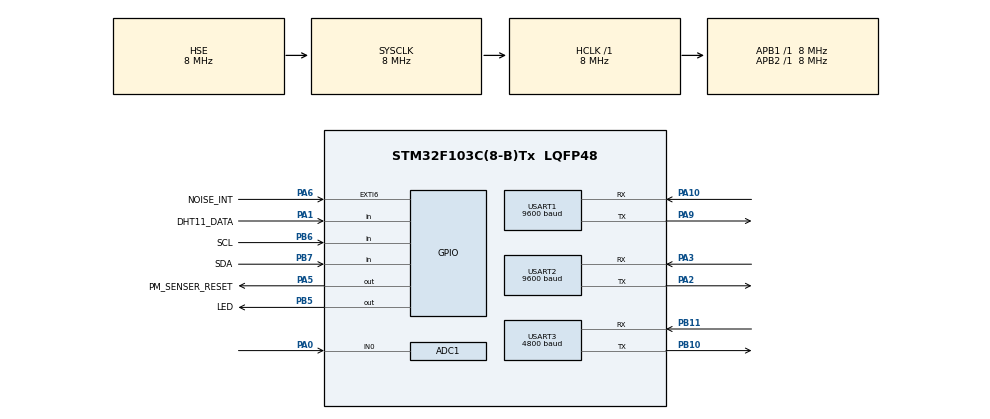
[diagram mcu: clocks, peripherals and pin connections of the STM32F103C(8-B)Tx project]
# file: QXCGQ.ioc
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ADC1.Channel-0\#ChannelRegularConversion=ADC_CHANNEL_0
ADC1.NbrOfConversionFlag=1
ADC1.Rank-0\#ChannelRegularConversion=1
ADC1.SamplingTime-0\#ChannelRegularConversion=ADC_SAMPLETIME_1CYCLE_5
ADC1.master=1
IWDG.Prescaler=IWDG_PRESCALER_64
Mcu.Family=STM32F1
Mcu.Name=STM32F103C(8-B)Tx
Mcu.Package=LQFP48
NVIC.EXTI9_5_IRQn=true\:0\:0\:false\:false\:true\:true\:true
NVIC.PriorityGroup=NVIC_PRIORITYGROUP_4
NVIC.TIM2_IRQn=true\:0\:0\:false\:false\:true\:true\:true
NVIC.TIM3_IRQn=true\:0\:0\:false\:false\:true\:true\:true
NVIC.USART1_IRQn=true\:0\:0\:false\:false\:true\:true\:true
NVIC.USART2_IRQn=true\:0\:0\:false\:false\:true\:true\:true
NVIC.USART3_IRQn=true\:0\:0\:false\:false\:true\:true\:true
PA0-WKUP.Signal=ADCx_IN0
PA1.GPIO_Label=DHT11_DATA
PA1.Signal=GPIO_Input
PA10.Mode=Asynchronous
PA10.Signal=USART1_RX
PA13.Mode=Serial_Wire
PA13.Signal=SYS_JTMS-SWDIO
PA14.Mode=Serial_Wire
PA14.Signal=SYS_JTCK-SWCLK
PA2.Mode=Asynchronous
PA2.Signal=USART2_TX
PA3.Mode=Asynchronous
PA3.Signal=USART2_RX
PA5.GPIO_Label=PM_SENSER_RESET
PA5.Signal=GPIO_Output
PA6.GPIO_Label=NOISE_INT
PA6.GPIO_ModeDefaultEXTI=GPIO_MODE_IT_RISING
PA6.Signal=GPXTI6
PA9.Mode=Asynchronous
PA9.Signal=USART1_TX
PB10.Mode=Asynchronous
PB10.Signal=USART3_TX
PB11.Mode=Asynchronous
PB11.Signal=USART3_RX
PB5.GPIO_Label=LED
PB5.Signal=GPIO_Output
PB6.GPIO_Label=SCL
PB6.Signal=GPIO_Input
PB7.GPIO_Label=SDA
PB7.Signal=GPIO_Input
PD0-OSC_IN.Mode=HSE-External-Oscillator
PD0-OSC_IN.Signal=RCC_OSC_IN
PD1-OSC_OUT.Mode=HSE-External-Oscillator
PD1-OSC_OUT.Signal=RCC_OSC_OUT
ProjectManager.HeapSize=0x200
ProjectManager.StackSize=0x400
ProjectManager.TargetToolchain=MDK-ARM V5.27
RCC.AHBFreq_Value=8000000
RCC.APB1Freq_Value=8000000
RCC.APB1TimFreq_Value=8000000
RCC.APB2Freq_Value=8000000
RCC.APB2TimFreq_Value=8000000
RCC.EnbaleCSS=true
RCC.HCLKFreq_Value=8000000
RCC.PLLMUL=RCC_PLL_MUL9
RCC.PLLSourceVirtual=RCC_PLLSOURCE_HSE
RCC.SYSCLKFreq_VALUE=8000000
RCC.SYSCLKSource=RCC_SYSCLKSOURCE_HSE
RCC.USBFreq_Value=72000000
SH.ADCx_IN0.0=ADC1_IN0,IN0
TIM2.AutoReloadPreload=TIM_AUTORELOAD_PRELOAD_ENABLE
TIM2.Period=799
TIM2.Prescaler=99
TIM3.AutoReloadPreload=TIM_AUTORELOAD_PRELOAD_ENABLE
TIM3.Period=7999
TIM3.Prescaler=999
USART1.BaudRate=9600
USART1.VirtualMode=VM_ASYNC
USART2.BaudRate=9600
USART2.VirtualMode=VM_ASYNC
USART3.BaudRate=4800
USART3.VirtualMode=VM_ASYNC
VP_IWDG_VS_IWDG.Mode=IWDG_Activate
VP_TIM2_VS_ClockSourceINT.Mode=Internal
VP_TIM3_VS_ClockSourceINT.Mode=Internal
board=custom

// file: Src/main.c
/* USER CODE BEGIN Header */
/**
  ******************************************************************************
  * @file           : main.c
  * @brief          : Main program body
  ******************************************************************************
  * @attention
  *
  * <h2><center>&copy; Copyright (c) 2022 STMicroelectronics.
  * All rights reserved.</center></h2>
  *
  * This software component is licensed by ST under BSD 3-Clause license,
  * the "License"; You may not use this file except in compliance with the
  * License. You may obtain a copy of the License at:
  *                        opensource.org/licenses/BSD-3-Clause
  *
  ******************************************************************************
  */
/* USER CODE END Header */

#include "main.h"
#include "adc.h"
#include "iwdg.h"
#include "tim.h"
#include "usart.h"
#include "gpio.h"

void SystemClock_Config(void);

/* USER CODE BEGIN 0 */
int fputc(int ch, FILE *f)
{
 uint8_t temp[1] = {ch};
 HAL_UART_Transmit(&huart1, temp, 1, 2);//串口发送函数
 return ch;
}
/* USER CODE END 0 */

int main(void)
{

  /* MCU Configuration--------------------------------------------------------*/

  /* Reset of all peripherals, Initializes the Flash interface and the Systick. */
  HAL_Init();

  /* Configure the system clock */
  SystemClock_Config();

  /* Initialize all configured peripherals */
  MX_GPIO_Init();
  MX_ADC1_Init();
  MX_IWDG_Init();
  MX_USART1_UART_Init();
  MX_USART2_UART_Init();
  MX_USART3_UART_Init();
  MX_TIM2_Init();
  MX_TIM3_Init();
  /* USER CODE BEGIN 2 */
	__HAL_UART_ENABLE_IT(&huart1, UART_IT_RXNE);// 打开串口1接收中断
	__HAL_UART_ENABLE_IT(&huart2, UART_IT_RXNE);// 打开串口2接收中断
	__HAL_UART_ENABLE_IT(&huart3, UART_IT_RXNE);// 打开串口2接收中断
	HAL_TIM_Base_Start_IT(&htim2);
	HAL_TIM_Base_Start_IT(&htim3);

 	DEVICE_STATE_Read();
	MPU_IIC_Init();

 	while(DHT11_Init())	//DHT11初始化
	{
		printf("DHT11 Error\r\n");
		HAL_Delay(200);
	}

  /* USER CODE END 2 */

  /* Infinite loop */
  while (1)
  {

    /* USER CODE BEGIN 3 */

		if(Res1_Sign==1)GET_RES1_BUF();
		if(Res2_Sign==1)GET_RES2_BUF();
		if(Res3_Sign==1)GET_RES3_BUF();

		MASTER_SCAN_ACTION();

		if(times>8640000)times=0;
  }
  /* USER CODE END 3 */
}

void SystemClock_Config(void)
{
  RCC_OscInitTypeDef RCC_OscInitStruct = {0};
  RCC_ClkInitTypeDef RCC_ClkInitStruct = {0};
  RCC_PeriphCLKInitTypeDef PeriphClkInit = {0};

  /** Initializes the CPU, AHB and APB busses clocks
  */
  RCC_OscInitStruct.OscillatorType = RCC_OSCILLATORTYPE_LSI|RCC_OSCILLATORTYPE_HSE;
  RCC_OscInitStruct.HSEState = RCC_HSE_ON;
  RCC_OscInitStruct.LSIState = RCC_LSI_ON;
  RCC_OscInitStruct.PLL.PLLState = RCC_PLL_NONE;
  if (HAL_RCC_OscConfig(&RCC_OscInitStruct) != HAL_OK)
  {
    Error_Handler();
  }
  /** Initializes the CPU, AHB and APB busses clocks
  */
  RCC_ClkInitStruct.ClockType = RCC_CLOCKTYPE_HCLK|RCC_CLOCKTYPE_SYSCLK
                              |RCC_CLOCKTYPE_PCLK1|RCC_CLOCKTYPE_PCLK2;
  RCC_ClkInitStruct.SYSCLKSource = RCC_SYSCLKSOURCE_HSE;
  RCC_ClkInitStruct.AHBCLKDivider = RCC_SYSCLK_DIV1;
  RCC_ClkInitStruct.APB1CLKDivider = RCC_HCLK_DIV1;
  RCC_ClkInitStruct.APB2CLKDivider = RCC_HCLK_DIV1;

  if (HAL_RCC_ClockConfig(&RCC_ClkInitStruct, FLASH_LATENCY_0) != HAL_OK)
  {
    Error_Handler();
  }
  PeriphClkInit.PeriphClockSelection = RCC_PERIPHCLK_ADC;
  PeriphClkInit.AdcClockSelection = RCC_ADCPCLK2_DIV2;
  if (HAL_RCCEx_PeriphCLKConfig(&PeriphClkInit) != HAL_OK)
  {
    Error_Handler();
  }
  /** Enables the Clock Security System
  */
  HAL_RCC_EnableCSS();
}

void Error_Handler(void)
{
}

/************************ (C) COPYRIGHT STMicroelectronics *****END OF FILE****/
